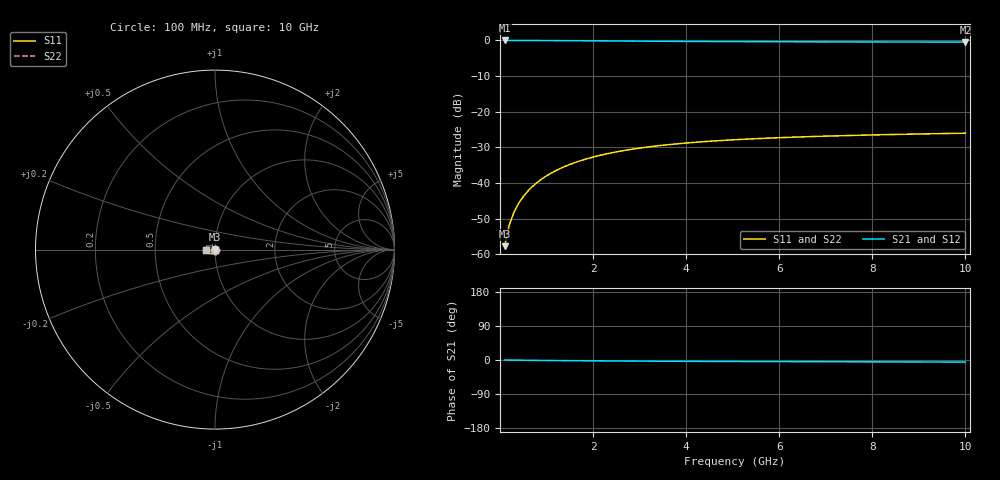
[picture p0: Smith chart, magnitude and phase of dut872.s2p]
! Touchstone file exported from HFSS 2024.1.0
!  File:  C:/UserFiles/LocalFiles/RDL_TSV_Batchsim/temp_TSV1_872_1779882843.aedt
!  Generated:  08:00:59 PM May 27, 2026
!  Design:  TSV1
!  Project:  temp_TSV1_872_1779882843
!  Setup:  Setup1
!  Solution:  Sweep
! Variables:
!  dtsv = 9.63um
!  hbump = 3um
!  htsv = 87.6um
!  lrdl = 252.1521522um
!  p = 40
!  p1 = 45.75um
!  t = 500um
!  trdl = 3um
!  wrdl = 24.89489489um
# GHz S MA R 50.000000
! Terminal data exported
! Port[1] = TSV22_T1
! Port[2] = TSV22_T2
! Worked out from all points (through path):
!   100 points, 100 MHz to 10 GHz, reference 50 ohm
!   highest |S21| = 0.00 dB at 100 MHz (marker M1); lowest = -0.5 dB at 10 GHz (marker M2)
!   lowest |S11| = -57.7 dB at 100 MHz (marker M3), VSWR 1.00, Z = 50 - j0.129 ohm
!   |S11| at or under -10 dB: start of sweep to end of sweep
!   |S22| runs from -57.7 to -26.0 dB; largest |S21 - S12| = 2e-15
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0.1  0.0013 -84.3  0.9998 -0.1  0.9998 -0.1  0.0013 -84.3
! Gamma 0 0 0 0
! Port Impedance 50 0 50 0
0.2  0.002586 -89.4  0.9997 -0.3  0.9997 -0.3  0.002586 -89.4
0.3  0.003876 -92.3  0.9995 -0.4  0.9995 -0.4  0.003876 -92.3
0.4  0.005163 -94.5  0.9992 -0.5  0.9992 -0.5  0.005163 -94.5
0.5  0.006441 -96.5  0.9988 -0.6  0.9988 -0.6  0.006441 -96.5
0.6  0.007708 -98.5  0.9984 -0.8  0.9984 -0.8  0.007708 -98.5
0.7  0.00896 -100.3  0.9979 -0.9  0.9979 -0.9  0.00896 -100.3
0.8  0.01019 -102.1  0.9974 -1.0  0.9974 -1.0  0.01019 -102.1
0.9  0.01141 -103.8  0.9968 -1.1  0.9968 -1.1  0.01141 -103.8
1.1  0.01377 -107.1  0.9955 -1.3  0.9955 -1.3  0.01377 -107.1
1.4  0.01714 -111.9  0.9932 -1.7  0.9932 -1.7  0.01714 -111.9
1.6  0.01924 -114.9  0.9915 -1.9  0.9915 -1.9  0.01924 -114.9
1.8  0.02124 -117.8  0.9897 -2.0  0.9897 -2.0  0.02124 -117.8
2.1  0.02402 -121.9  0.9869 -2.3  0.9869 -2.3  0.02402 -121.9
2.5  0.02733 -127.0  0.9832 -2.6  0.9832 -2.6  0.02733 -127.0
2.9  0.03022 -131.7  0.9796 -2.9  0.9796 -2.9  0.03022 -131.7
3.4  0.03331 -137.0  0.9753 -3.1  0.9753 -3.1  0.03331 -137.0
4.2  0.03727 -144.4  0.9694 -3.5  0.9694 -3.5  0.03727 -144.4
5.1  0.04064 -151.4  0.9639 -3.9  0.9639 -3.9  0.04064 -151.4
6.7  0.04484 -161.4  0.9568 -4.4  0.9568 -4.4  0.04484 -161.4
8.4  0.04787 -169.9  0.9517 -5.0  0.9517 -5.0  0.04787 -169.9
10  0.05001 -176.5  0.9483 -5.5  0.9483 -5.5  0.05001 -176.5
